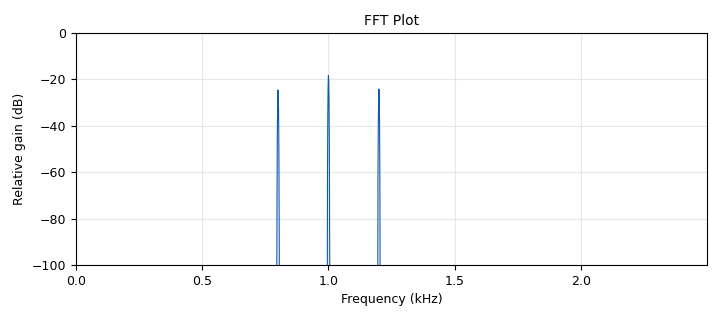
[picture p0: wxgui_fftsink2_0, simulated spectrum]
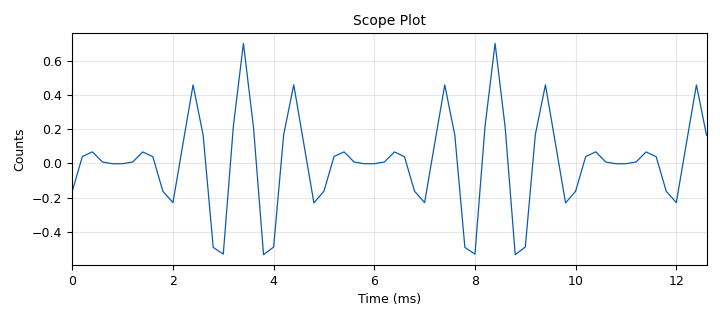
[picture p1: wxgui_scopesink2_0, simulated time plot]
<?xml version='1.0' encoding='utf-8'?>
<?grc format='1' created='3.7.9'?>
<flow_graph>
<block>
<key>options</key>
<param><key>id</key><value>AM</value></param>
<param><key>category</key><value>Custom</value></param>
<param><key>generate_options</key><value>wx_gui</value></param>
</block>
<block>
<key>variable_slider</key>
<param><key>id</key><value>ac</value></param>
<param><key>converver</key><value>float_converter</value></param>
<param><key>value</key><value>0.35</value></param>
<param><key>label</key><value></value></param>
<param><key>max</key><value>1</value></param>
<param><key>min</key><value>0</value></param>
<param><key>num_steps</key><value>100</value></param>
<param><key>style</key><value>wx.SL_HORIZONTAL</value></param>
</block>
<block>
<key>variable</key>
<param><key>id</key><value>samp_rate</value></param>
<param><key>value</key><value>5000</value></param>
</block>
<block>
<key>analog_sig_source_x</key>
<param><key>id</key><value>analog_sig_source_x_0</value></param>
<param><key>amp</key><value>1</value></param>
<param><key>freq</key><value>200</value></param>
<param><key>offset</key><value>0</value></param>
<param><key>type</key><value>float</value></param>
<param><key>samp_rate</key><value>samp_rate</value></param>
<param><key>waveform</key><value>analog.GR_COS_WAVE</value></param>
</block>
<block>
<key>analog_sig_source_x</key>
<param><key>id</key><value>analog_sig_source_x_1</value></param>
<param><key>amp</key><value>1</value></param>
<param><key>freq</key><value>1000</value></param>
<param><key>offset</key><value>0</value></param>
<param><key>type</key><value>float</value></param>
<param><key>samp_rate</key><value>samp_rate</value></param>
<param><key>waveform</key><value>analog.GR_COS_WAVE</value></param>
</block>
<block>
<key>blocks_add_const_vxx</key>
<param><key>id</key><value>blocks_add_const_vxx_0</value></param>
<param><key>const</key><value>1</value></param>
<param><key>type</key><value>float</value></param>
</block>
<block>
<key>blocks_multiply_const_vxx</key>
<param><key>id</key><value>blocks_multiply_const_vxx_0</value></param>
<param><key>const</key><value>ac</value></param>
<param><key>type</key><value>float</value></param>
</block>
<block>
<key>blocks_multiply_xx</key>
<param><key>id</key><value>blocks_multiply_xx_0</value></param>
<param><key>type</key><value>float</value></param>
</block>
<block>
<key>blocks_throttle</key>
<param><key>id</key><value>blocks_throttle_0</value></param>
<param><key>samples_per_second</key><value>samp_rate</value></param>
<param><key>type</key><value>float</value></param>
</block>
<block>
<key>notebook</key>
<param><key>id</key><value>fig</value></param>
<param><key>labels</key><value>['tab1', 'tab2']</value></param>
<param><key>style</key><value>wx.NB_TOP</value></param>
</block>
<block>
<key>wxgui_fftsink2</key>
<param><key>id</key><value>wxgui_fftsink2_0</value></param>
<param><key>avg_alpha</key><value>0</value></param>
<param><key>average</key><value>False</value></param>
<param><key>baseband_freq</key><value>0</value></param>
<param><key>fft_size</key><value>4096</value></param>
<param><key>freqvar</key><value>None</value></param>
<param><key>notebook</key><value>fig,0</value></param>
<param><key>peak_hold</key><value>False</value></param>
<param><key>ref_level</key><value>0</value></param>
<param><key>ref_scale</key><value>2.0</value></param>
<param><key>fft_rate</key><value>30</value></param>
<param><key>samp_rate</key><value>samp_rate</value></param>
<param><key>title</key><value>FFT Plot</value></param>
<param><key>type</key><value>float</value></param>
<param><key>win</key><value>None</value></param>
<param><key>y_divs</key><value>10</value></param>
<param><key>y_per_div</key><value>10</value></param>
</block>
<block>
<key>wxgui_scopesink2</key>
<param><key>id</key><value>wxgui_scopesink2_0</value></param>
<param><key>ac_couple</key><value>False</value></param>
<param><key>notebook</key><value>fig,1</value></param>
<param><key>num_inputs</key><value>1</value></param>
<param><key>samp_rate</key><value>samp_rate</value></param>
<param><key>t_scale</key><value>0</value></param>
<param><key>title</key><value>Scope Plot</value></param>
<param><key>trig_mode</key><value>wxgui.TRIG_MODE_AUTO</value></param>
<param><key>type</key><value>float</value></param>
<param><key>v_offset</key><value>0</value></param>
<param><key>v_scale</key><value>0</value></param>
<param><key>xy_mode</key><value>False</value></param>
<param><key>y_axis_label</key><value>Counts</value></param>
</block>
<connection><source_block_id>analog_sig_source_x_0</source_block_id><sink_block_id>blocks_add_const_vxx_0</sink_block_id><source_key>0</source_key><sink_key>0</sink_key></connection>
<connection><source_block_id>analog_sig_source_x_1</source_block_id><sink_block_id>blocks_multiply_xx_0</sink_block_id><source_key>0</source_key><sink_key>1</sink_key></connection>
<connection><source_block_id>blocks_add_const_vxx_0</source_block_id><sink_block_id>blocks_multiply_xx_0</sink_block_id><source_key>0</source_key><sink_key>0</sink_key></connection>
<connection><source_block_id>blocks_multiply_const_vxx_0</source_block_id><sink_block_id>blocks_throttle_0</sink_block_id><source_key>0</source_key><sink_key>0</sink_key></connection>
<connection><source_block_id>blocks_multiply_xx_0</source_block_id><sink_block_id>blocks_multiply_const_vxx_0</sink_block_id><source_key>0</source_key><sink_key>0</sink_key></connection>
<connection><source_block_id>blocks_throttle_0</source_block_id><sink_block_id>wxgui_fftsink2_0</sink_block_id><source_key>0</source_key><sink_key>0</sink_key></connection>
<connection><source_block_id>blocks_throttle_0</source_block_id><sink_block_id>wxgui_scopesink2_0</sink_block_id><source_key>0</source_key><sink_key>0</sink_key></connection>
</flow_graph>
